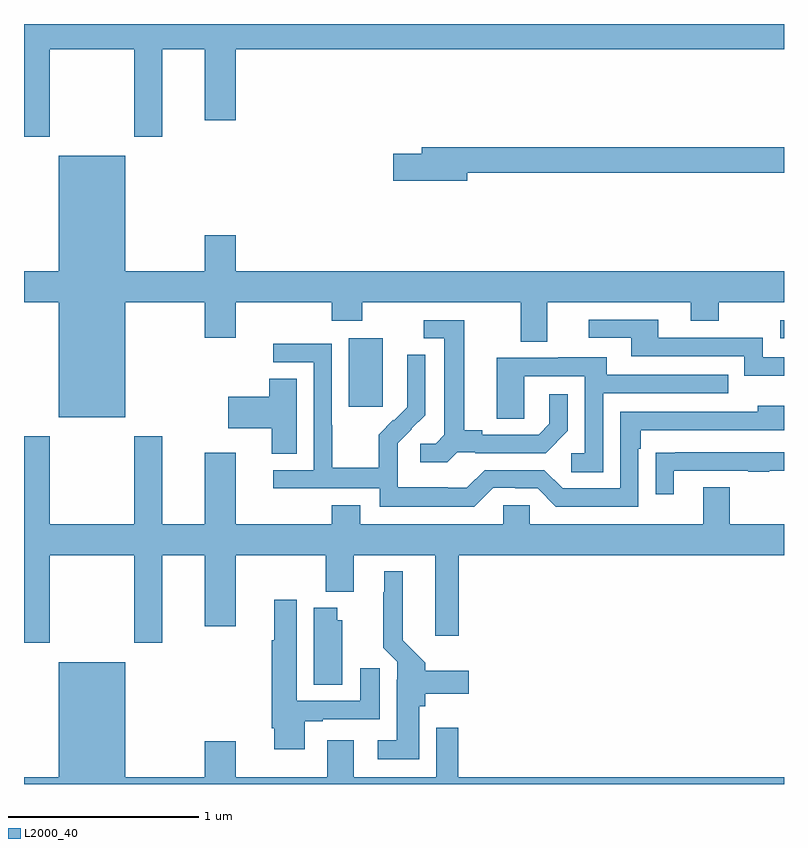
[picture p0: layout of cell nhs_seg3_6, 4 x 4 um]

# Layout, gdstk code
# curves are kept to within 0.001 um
import gdstk
lib = gdstk.Library(unit=1e-6, precision=1e-09)
def R(c, l, rs):  # rectangles x0, y0, x1, y1
    for r in rs: c.add(gdstk.rectangle(r[:2], r[2:], *l))
def P(c, l, *ps):  # polygons
    for p in ps: c.add(gdstk.Polygon(p, *l))
L2000_40 = (2000, 40)

nhs_seg3_6 = lib.new_cell('nhs_seg3_6')
R(nhs_seg3_6, L2000_40, [(112.709,680.385,112.888,680.746), (114.981,680.745,115,680.841)])
P(nhs_seg3_6, L2000_40, [(111.135,682.268),(111.58,682.268),(111.58,681.807),(111.727,681.807),(111.727,682.268),(111.95,682.268),(111.95,681.894),(112.114,681.894),(112.114,682.268),(115,682.268),(115,682.4),(111,682.4),(111,681.807),(111.135,681.807)],
  [(113.332,681.616),(115,681.616),(115,681.752),(113.093,681.752),(113.093,681.716),(112.944,681.716),(112.944,681.574),(113.332,681.574)],
  [(111.532,680.936),(111.95,680.936),(111.95,680.748),(112.114,680.748),(112.114,680.936),(112.619,680.936),(112.619,680.837),(112.779,680.837),(112.779,680.936),(113.615,680.936),(113.615,680.728),(113.755,680.728),(113.755,680.936),(114.509,680.936),(114.509,680.837),(114.657,680.837),(114.657,680.936),(115,680.936),(115,681.1),(112.114,681.1),(112.114,681.289),(111.95,681.289),(111.95,681.1),(111.532,681.1),(111.532,681.706),(111.182,681.706),(111.182,681.1),(111,681.1),(111,680.936),(111.182,680.936),(111.182,680.33),(111.532,680.33)],
  [(115,680.646),(114.888,680.646),(114.888,680.748),(114.337,680.748),(114.337,680.844),(113.973,680.844),(113.973,680.748),(114.197,680.748),(114.197,680.652),(114.792,680.652),(114.792,680.549),(115,680.549)],
  [(113.28,680.145),(113.374,680.145),(113.374,680.142),(113.746,680.142),(113.862,680.258),(113.862,680.452),(113.765,680.452),(113.765,680.295),(113.708,680.238),(113.413,680.238),(113.413,680.261),(113.317,680.261),(113.317,680.841),(113.103,680.841),(113.103,680.745),(113.213,680.745),(113.213,680.237),(113.166,680.19),(113.085,680.19),(113.085,680.093),(113.228,680.093)],
  [(113.469,679.959),(113.585,679.959),(113.585,679.956),(113.703,679.956),(113.799,679.86),(114.234,679.86),(114.234,680.165),(114.247,680.165),(114.247,680.262),(115,680.262),(115,680.392),(114.863,680.392),(114.863,680.358),(114.138,680.358),(114.138,679.956),(113.835,679.956),(113.739,680.052),(113.424,680.052),(113.331,679.959),(113.231,679.959),(113.231,679.963),(112.968,679.963),(112.968,680.097),(112.966,680.097),(112.966,680.194),(113.112,680.342),(113.112,680.66),(113.016,680.66),(113.016,680.506),(113.018,680.506),(113.018,680.384),(112.947,680.313),(112.944,680.316),(112.867,680.239),(112.867,680.065),(112.623,680.065),(112.623,680.288),(112.62,680.288),(112.62,680.718),(112.311,680.718),(112.311,680.619),(112.524,680.619),(112.524,680.052),(112.311,680.052),(112.311,679.956),(112.872,679.956),(112.872,679.859),(113.369,679.859)],
  [(114.048,680.457),(114.707,680.457),(114.707,680.553),(114.067,680.553),(114.067,680.647),(113.813,680.647),(113.813,680.643),(113.489,680.643),(113.489,680.323),(113.634,680.323),(113.634,680.547),(113.952,680.547),(113.952,680.142),(113.88,680.142),(113.88,680.041),(114.048,680.041)],
  [(112.435,680.534),(112.292,680.534),(112.292,680.439),(112.074,680.439),(112.074,680.273),(112.304,680.273),(112.304,680.137),(112.435,680.137)],
  [(111.135,679.604),(111.58,679.604),(111.58,679.143),(111.727,679.143),(111.727,679.604),(111.95,679.604),(111.95,679.23),(112.114,679.23),(112.114,679.604),(112.588,679.604),(112.588,679.412),(112.735,679.412),(112.735,679.604),(113.165,679.604),(113.165,679.179),(113.288,679.179),(113.288,679.604),(115,679.604),(115,679.768),(114.715,679.768),(114.715,679.963),(114.575,679.963),(114.575,679.768),(113.661,679.768),(113.661,679.866),(113.523,679.866),(113.523,679.768),(112.771,679.768),(112.771,679.867),(112.619,679.867),(112.619,679.768),(112.114,679.768),(112.114,680.143),(111.95,680.143),(111.95,679.768),(111.727,679.768),(111.727,680.23),(111.58,680.23),(111.58,679.768),(111.135,679.768),(111.135,680.23),(111,680.23),(111,679.143),(111.135,679.143)],
  [(114.421,680.049),(114.811,680.049),(114.811,680.044),(114.923,680.044),(114.923,680.049),(115,680.049),(115,680.145),(114.427,680.145),(114.427,680.144),(114.325,680.144),(114.325,679.926),(114.421,679.926)],
  [(113.08,678.81),(113.111,678.81),(113.111,678.875),(113.341,678.875),(113.341,678.997),(113.111,678.997),(113.111,679.038),(112.993,679.156),(112.993,679.519),(112.895,679.519),(112.895,679.409),(112.891,679.409),(112.891,679.118),(112.965,679.044),(112.965,678.95),(112.961,678.95),(112.961,678.631),(112.863,678.631),(112.863,678.53),(113.08,678.53)],
  [(112.477,678.729),(112.573,678.729),(112.573,678.741),(112.873,678.741),(112.873,679.009),(112.769,679.009),(112.769,678.837),(112.435,678.837),(112.435,679.369),(112.316,679.369),(112.316,679.156),(112.304,679.156),(112.304,678.694),(112.316,678.694),(112.316,678.582),(112.477,678.582)],
  [(112.675,679.263),(112.648,679.263),(112.648,679.327),(112.526,679.327),(112.526,678.922),(112.675,678.922)],
  [(115,678.436),(113.285,678.436),(113.285,678.697),(113.169,678.697),(113.169,678.436),(112.735,678.436),(112.735,678.631),(112.595,678.631),(112.595,678.436),(112.114,678.436),(112.114,678.625),(111.95,678.625),(111.95,678.436),(111.532,678.436),(111.532,679.042),(111.182,679.042),(111.182,678.436),(111,678.436),(111,678.4),(115,678.4)])

lib.write_gds('nhs_seg3_6.gds')
